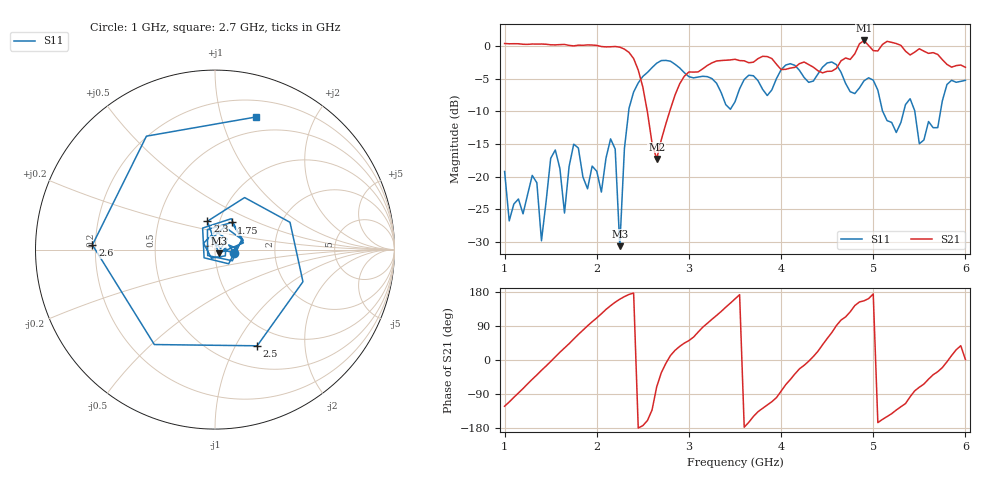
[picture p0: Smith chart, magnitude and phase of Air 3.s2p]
! NanoVNA-App
! Date: 2024-03-21 11:32:35
! Start: 1GHz Stop: 6GHz Points: 101
! S-Parameter data: F S11 S21 S12 S22
# Hz S RI R 50
!	Frequency	S11_Real	S11_Imag	S21_Real	S21_Imag	S12_Real	S12_Imag	S22_Real	S22_Imag
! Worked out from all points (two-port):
!   101 points, 1 GHz to 6 GHz, reference 50 ohm
!   highest |S21| = 0.86 dB at 4.9 GHz (marker M1); lowest = -17.3 dB at 2.65 GHz (marker M2)
!   |S21| within 3 dB of the highest: start of sweep to 2.407 GHz; 4.664 GHz to 5.754 GHz (1.09 GHz wide, 20.9 % of centre)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
!   lowest |S11| = -30.7 dB at 2.25 GHz (marker M3), VSWR 1.06, Z = 52.1 - j2.16 ohm
!   |S11| at or under -10 dB: start of sweep to 2.346 GHz; 5.103 GHz to 5.331 GHz (228.8 MHz wide, 4.39 % of centre); 5.451 GHz to 5.73 GHz (279.4 MHz wide, 5 % of centre)
!   S12 and S22 are empty: the file has one direction only
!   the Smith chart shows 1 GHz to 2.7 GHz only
!   S11 on the Smith chart (normalised r, x): 1 GHz: 1.24, -0.04; 1.75 GHz: 1.14, +0.36; 2.3 GHz: 0.88, +0.28; 2.5 GHz: 0.75, -1.23; 2.6 GHz: 0.19, +0.02; 2.7 GHz: 0.35, +1.30
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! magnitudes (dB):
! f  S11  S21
! 1 GHz  -19.2  0.4
! 1.05 GHz  -26.8  0.3
! 1.35 GHz  -21.0  0.3
! 1.4 GHz  -29.8  0.3
! 1.5 GHz  -17.2  0.2
! 1.65 GHz  -25.6  0.2
! 1.75 GHz  -15.0  0.0
! 1.85 GHz  -20.1  0.1
! 2.05 GHz  -22.4  -0.1
! 2.15 GHz  -14.2  -0.1
! 2.2 GHz  -15.8  -0.1
! 2.25 GHz  -30.7  -0.2
! 2.3 GHz  -15.7  -0.5
! 2.5 GHz  -4.7  -6.3
! 2.6 GHz  -3.3  -14.9
! 2.65 GHz  -2.6  -17.3
! 2.7 GHz  -2.2  -14.4
! 3.5 GHz  -8.5  -2.0
! 4.35 GHz  -5.4  -3.2
! 4.9 GHz  -5.3  0.9
! 5.2 GHz  -11.7  0.6
! 6 GHz  -5.3  -3.3
